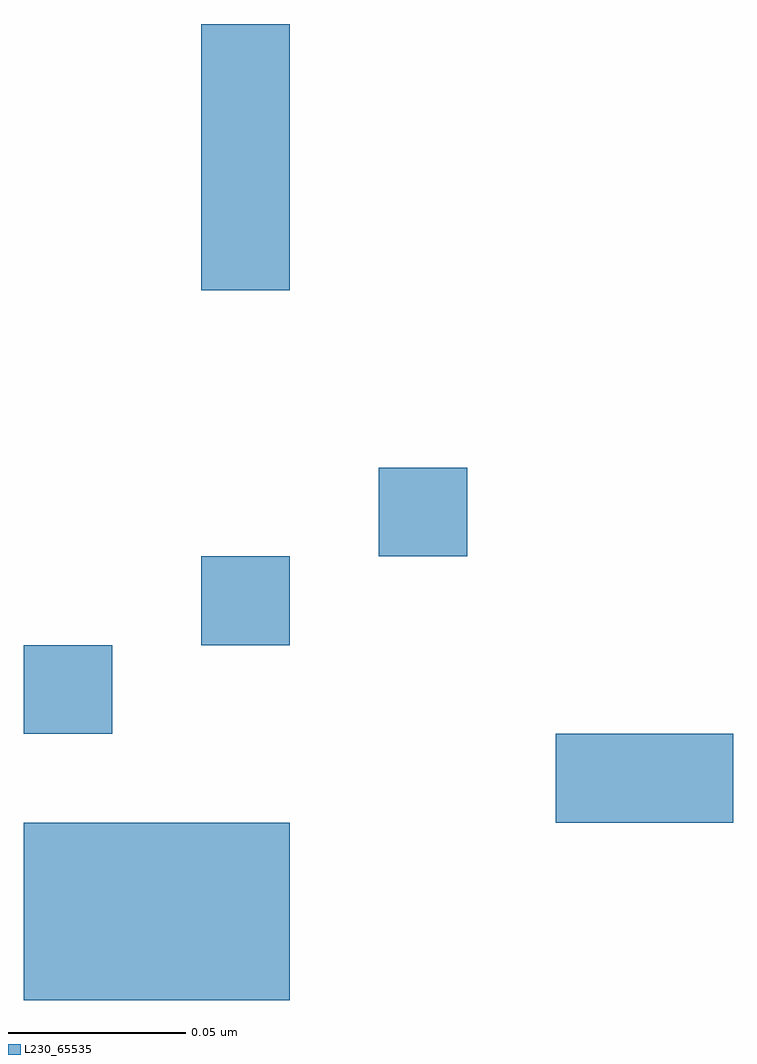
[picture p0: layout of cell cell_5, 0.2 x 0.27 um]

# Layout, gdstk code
import gdstk
lib = gdstk.Library(unit=1e-6, precision=1e-09)
def R(c, l, rs):  # rectangles x0, y0, x1, y1
    for r in rs: c.add(gdstk.rectangle(r[:2], r[2:], *l))
L230_65535 = (230, 65535)

cell_5 = lib.new_cell('cell_5')
R(cell_5, L230_65535, [(0.075,0.025,0.15,0.075), (0.225,0.075,0.275,0.1), (0.075,0.1,0.1,0.125), (0.125,0.125,0.15,0.15), (0.175,0.15,0.2,0.175), (0.125,0.225,0.15,0.3)])

lib.write_gds('cell_5.gds')
